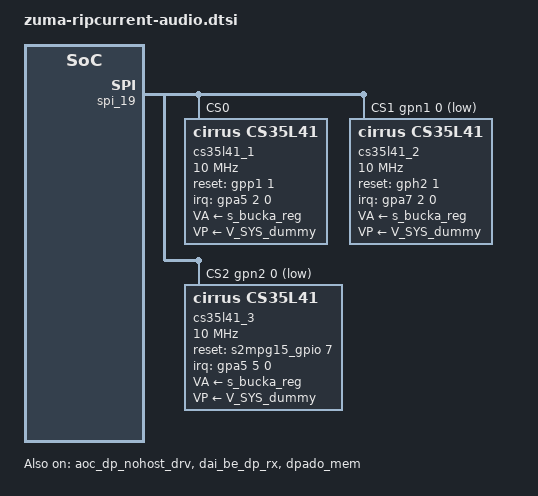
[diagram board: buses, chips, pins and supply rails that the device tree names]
// SPDX-License-Identifier: GPL-2.0-only
/*
 * Ripcurrent board audio device tree source
 *
 * Copyright 2022 Google LLC
 */


#include <dt-bindings/interrupt-controller/irq.h>
#include <dt-bindings/gpio/gpio.h>
#include <dt-bindings/pinctrl/samsung.h>
//#include <dt-bindings/sound/google-aoc.h>

&aoc {
	aoc-board-cfg = "RC";
	aoc-board-id = <0x40101>;
	aoc-board-rev = <0x10000>;
};

/* DP audio */
&aoc_dp_nohost_drv {
	status = "okay";
};

/* DP audio */
&dai_fe_dp_dma_nohost_rx {
	status = "okay";
};

/* DP audio */
&dai_be_dp_rx {
	status = "okay";
	codec {
		sound-dai = <&drmdp_adma_pb>;
	};
};

/* DP audio */
&dpado_mem {
	status = "okay";
};

/* DP audio */
&drmdp_adma {
	status = "okay";
	memory-region = <&dpado_mem>;
};

/* DP audio */
&drmdp_adma_pb {
	status = "okay";
};

&dai_be_tdm0_rx {
	codec {
		sound-dai = <&cs35l41_1 0>,
			<&cs35l41_2 0>,
			<&cs35l41_3 0>;
	};
};

&dai_be_tdm0_tx {
	codec {
		sound-dai = <&cs35l41_1 0>,
			<&cs35l41_2 0>,
			<&cs35l41_3 0>;
	};
};

&aoc_snd_card {
	clks {
		sys {
			sys@cs35l41_l {
				comp = <&cs35l41_1>;
				src = "BCLK";
				/* clk id */
				id = <0>;
				/* clk source */
				srcid = <0>;
				/* in clk multiple */
				in_mul = <1>;
				/* out clk multiple */
				out_mul = <1>;
			};

			sys@cs35l41_r {
				comp = <&cs35l41_2>;
				src = "BCLK";
				/* clk id */
				id = <0>;
				/* clk source */
				srcid = <0>;
				/* in clk multiple */
				in_mul = <1>;
				/* out clk multiple */
				out_mul = <1>;
			};

			sys@cs35l41_e {
				comp = <&cs35l41_3>;
				src = "BCLK";
				/* clk id */
				id = <0>;
				/* clk source */
				srcid = <0>;
				/* in clk multiple */
				in_mul = <1>;
				/* out clk multiple */
				out_mul = <1>;
			};
		};
	};
};

/* GPIO_ALIVE */
&pinctrl_0 {
	cs35l41_2_irq: cs35l41-2-irq {
		samsung,pins = "gpa7-2"; /* XEINT_16 */
		samsung,pin-function = <EXYNOS_PIN_FUNC_EINT>;
		samsung,pin-pud = <EXYNOS_PIN_PULL_NONE>;
	};
};

/* GPIO_FAR_ALIVE */
&pinctrl_2 {
	cs35l41_1_irq: cs35l41-1-irq {
		samsung,pins = "gpa5-2"; /* XEINT_2 */
		samsung,pin-function = <EXYNOS_PIN_FUNC_EINT>;
		samsung,pin-pud = <EXYNOS_PIN_PULL_NONE>;
	};
	cs35l41_3_irq: cs35l41-3-irq {
		samsung,pins = "gpa5-5"; /* XEINT_5 */
		samsung,pin-function = <EXYNOS_PIN_FUNC_EINT>;
		samsung,pin-pud = <EXYNOS_PIN_PULL_NONE>;
	};
};

/* GPIO_PERIC0 */
&pinctrl_11 {
	cs35l41_1_rst: cs35l41-1-rst {
		samsung,pins = "gpp1-1"; /* XAPC_GPIO3 */
		samsung,pin-function = <EXYNOS_PIN_FUNC_OUTPUT>;
		samsung,pin-pud = <EXYNOS_PIN_PULL_NONE>;
		samsung,pin-con-pdn = <EXYNOS_PIN_PDN_PREV>;
		samsung,pin-pud-pdn = <EXYNOS_PIN_PULL_NONE>;
	};
};

/* GPIO_PERIC1 */
&pinctrl_8 {
	cs35l41_2_rst: cs35l41-2-rst {
		samsung,pins = "gph2-1"; /* XHSI1_GPIO11 */
		samsung,pin-function = <EXYNOS_PIN_FUNC_OUTPUT>;
		samsung,pin-pud = <EXYNOS_PIN_PULL_NONE>;
		samsung,pin-con-pdn = <EXYNOS_PIN_PDN_PREV>;
		samsung,pin-pud-pdn = <EXYNOS_PIN_PULL_NONE>;
	};
};

/* GPIO_HSI0 */
&pinctrl_12 {
	cs35l41_miso: cs35l41-miso {
	};

	cs35l41_mosi: cs35l41-mosi {
	};

	cs35l41_clk: cs35l41-clk {
	};

	cs35l41_cs1: cs35l41-cs1 {
	};

	cs35l41_cs2: cs35l41-cs2 {
		samsung,pins = "gpn1-0";
		samsung,pin-function = <EXYNOS_PIN_FUNC_OUTPUT>;
		samsung,pin-pud = <EXYNOS_PIN_PULL_NONE>;
		samsung,pin-drv = <ZUMA_PIN_DRV_X2>;
	};

	cs35l41_cs3: cs35l41-cs3 {
		samsung,pins = "gpn2-0";
		samsung,pin-function = <EXYNOS_PIN_FUNC_OUTPUT>;
		samsung,pin-pud = <EXYNOS_PIN_PULL_NONE>;
		samsung,pin-drv = <ZUMA_PIN_DRV_X2>;
	};
};

/* Cambria-SUB */
&s2mpg15_pinctrl {
	cs35l41_3_rst: cs35l41-3-rst { // GPIO_13
	};
};

&spi_19 {
	#address-cells = <1>;
	#size-cells = <0>;
	status = "okay";

	pinctrl-names = "default";
	pinctrl-0 = <>;

	num-cs = <3>;
	cs-gpios = <0
		    &gpn1 0 GPIO_ACTIVE_LOW
		    &gpn2 0 GPIO_ACTIVE_LOW>;

	cs35l41_1: cs35l41@0 {
		#sound-dai-cells = <1>;
		compatible = "cirrus,cs35l41";
		spi-max-frequency = <10000000>;
		reg = <0>;

		status = "okay";

		pinctrl-names = "default";
		pinctrl-0 = <&cs35l41_1_irq &cs35l41_1_rst>;

		interrupt-parent = <&gpa5>;
		interrupts = <2 0 0>;

		reset-gpios = <&gpp1 1 GPIO_ACTIVE_HIGH>;

		VA-supply = <&s_bucka_reg>;
		VP-supply = <&V_SYS_dummy>;

		cirrus,boost-peak-milliamp = <3500>;
		cirrus,boost-ind-nanohenry = <1000>;
		cirrus,boost-cap-microfarad = <30>;

		cirrus,asp-sdout-hiz = <3>;
		cirrus,tuning-has-prefix;
		cirrus,hw-noise-gate-select = <63>;
		//cirrus,hibernate-enable;

		cirrus,gpio-config2 {
			cirrus,gpio-src-select = <0x4>;
			cirrus,gpio-output-enable;
		};

		controller-data {
			samsung,spi-feedback-delay = <1>;
			/* SET SPI CS CONTROL TO MANUAL MODE */
			samsung,spi-chip-select-mode = <0>;
		};
	};

	cs35l41_2: cs35l41@1 {
		#sound-dai-cells = <1>;
		sound-name-prefix = "R";
		compatible = "cirrus,cs35l41";
		spi-max-frequency = <10000000>;
		reg = <1>;

		status = "okay";

		pinctrl-names = "default";
		pinctrl-0 = <&cs35l41_2_irq &cs35l41_2_rst>;

		interrupt-parent = <&gpa7>;
		interrupts = <2 0 0>;

		reset-gpios = <&gph2 1 GPIO_ACTIVE_HIGH>;

		VA-supply = <&s_bucka_reg>;
		VP-supply = <&V_SYS_dummy>;

		cirrus,boost-peak-milliamp = <3500>;
		cirrus,boost-ind-nanohenry = <1000>;
		cirrus,boost-cap-microfarad = <30>;

		cirrus,asp-sdout-hiz = <3>;
		cirrus,tuning-has-prefix;
		cirrus,hw-noise-gate-select = <63>;
		//cirrus,hibernate-enable;

		cirrus,gpio-config2 {
			cirrus,gpio-src-select = <0x4>;
			cirrus,gpio-output-enable;
		};

		controller-data {
			samsung,spi-feedback-delay = <1>;
			/* SET SPI CS CONTROL TO FORCE_QUIESCE_AUTO_CS_MODE */
			samsung,spi-chip-select-mode = <2>;
		};
	};

	cs35l41_3: cs35l41@2 {
		#sound-dai-cells = <1>;
		sound-name-prefix = "E";
		compatible = "cirrus,cs35l41";
		spi-max-frequency = <10000000>;
		reg = <2>;

		status = "okay";

		pinctrl-names = "default";
		pinctrl-0 = <&cs35l41_3_irq &cs35l41_3_rst>;

		interrupt-parent = <&gpa5>;
		interrupts = <5 0 0>;

		reset-gpios = <&s2mpg15_gpio 7 GPIO_ACTIVE_HIGH>;

		VA-supply = <&s_bucka_reg>;
		VP-supply = <&V_SYS_dummy>;

		cirrus,boost-peak-milliamp = <3500>;
		cirrus,boost-ind-nanohenry = <1000>;
		cirrus,boost-cap-microfarad = <30>;

		cirrus,asp-sdout-hiz = <3>;
		cirrus,tuning-has-prefix;
		cirrus,hw-noise-gate-select = <63>;
		//cirrus,hibernate-enable;

		cirrus,gpio-config2 {
			cirrus,gpio-src-select = <0x4>;
			cirrus,gpio-output-enable;
		};

		controller-data {
			samsung,spi-feedback-delay = <1>;
			/* SET SPI CS CONTROL TO AUTO_CS_MODE_FORCE_QUIESCE */
			samsung,spi-chip-select-mode = <2>;
		};
	};

};


